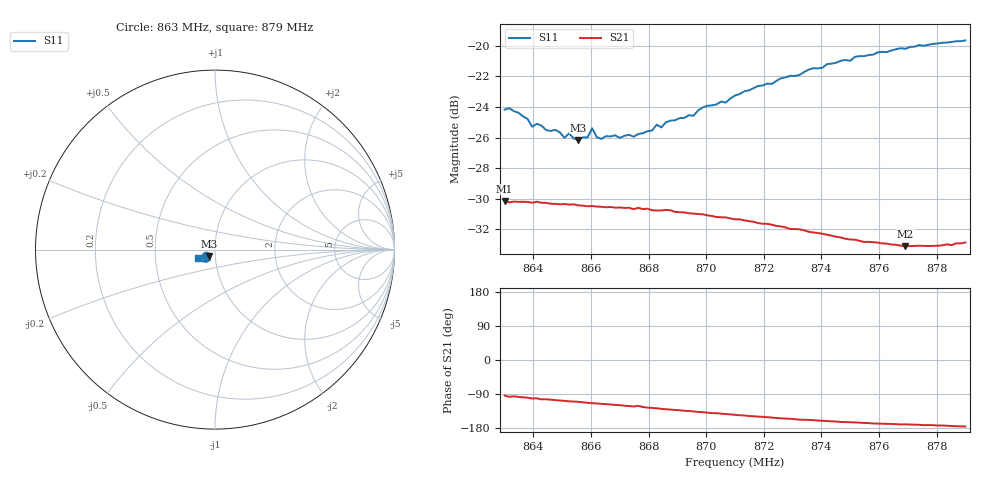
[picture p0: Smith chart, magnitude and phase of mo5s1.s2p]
# HZ S RI R 50
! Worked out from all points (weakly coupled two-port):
!   101 points, 863 MHz to 879 MHz, reference 50 ohm
!   highest |S21| = -30.14 dB at 863 MHz (marker M1); lowest = -33.1 dB at 876.92 MHz (marker M2)
!   lowest |S11| = -26.1 dB at 865.56 MHz (marker M3), VSWR 1.10, Z = 46.6 - j3.3 ohm
!   |S11| at or under -10 dB: start of sweep to end of sweep
!   S12 and S22 are empty: the file has one direction only
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8.63e8  -0.0508 -0.0352  -0.00203 -0.0311  0 0  0 0
8.6348e8  -0.0492 -0.0351  -0.00395 -0.0307  0 0  0 0
8.6396e8  -0.0428 -0.0336  -0.00619 -0.0301  0 0  0 0
8.6412e8  -0.0442 -0.0338  -0.00596 -0.0304  0 0  0 0
8.6476e8  -0.0402 -0.0347  -0.00828 -0.0293  0 0  0 0
8.6508e8  -0.0358 -0.035  -0.00928 -0.029  0 0  0 0
8.6524e8  -0.0378 -0.0354  -0.00993 -0.0286  0 0  0 0
8.6556e8  -0.0344 -0.0353  -0.0105 -0.0282  0 0  0 0
8.6572e8  -0.0341 -0.0369  -0.0111 -0.0279  0 0  0 0
8.6588e8  -0.0341 -0.0369  -0.0116 -0.0275  0 0  0 0
8.6604e8  -0.0368 -0.0391  -0.0122 -0.0274  0 0  0 0
8.662e8  -0.033 -0.038  -0.0124 -0.0271  0 0  0 0
8.6636e8  -0.032 -0.0379  -0.0129 -0.0268  0 0  0 0
8.6748e8  -0.0272 -0.0425  -0.0157 -0.0247  0 0  0 0
8.6812e8  -0.0275 -0.0451  -0.0172 -0.0234  0 0  0 0
8.6828e8  -0.0283 -0.0474  -0.0176 -0.023  0 0  0 0
8.6844e8  -0.0272 -0.0468  -0.0182 -0.0226  0 0  0 0
8.71e8  -0.0335 -0.0601  -0.0221 -0.0157  0 0  0 0
8.7372e8  -0.0501 -0.068  -0.0229 -0.0089  0 0  0 0
8.7644e8  -0.0751 -0.0608  -0.022 -0.00438  0 0  0 0
8.7692e8  -0.0783 -0.0585  -0.0218 -0.00388  0 0  0 0
8.79e8  -0.094 -0.0447  -0.0227 -0.00179  0 0  0 0
